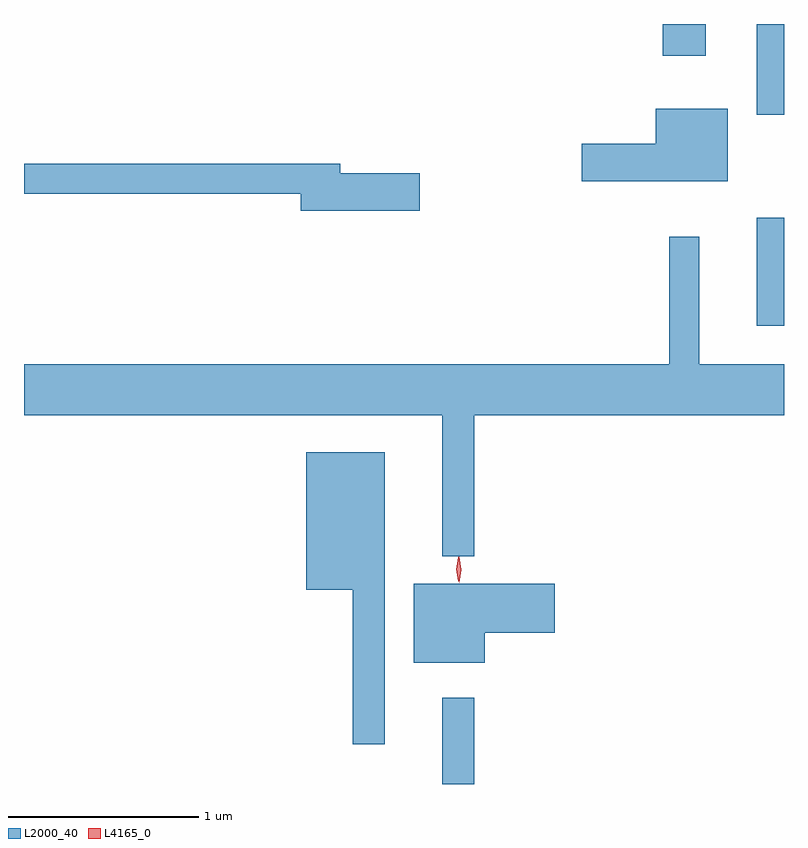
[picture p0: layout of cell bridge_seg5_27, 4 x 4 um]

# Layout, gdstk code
import gdstk
lib = gdstk.Library(unit=1e-6, precision=1e-09)
def R(c, l, rs):  # rectangles x0, y0, x1, y1
    for r in rs: c.add(gdstk.rectangle(r[:2], r[2:], *l))
def P(c, l, *ps):  # polygons
    for p in ps: c.add(gdstk.Polygon(p, *l))
L2000_40 = (2000, 40)
L4165_0 = (4165, 0)

bridge_seg5_27 = lib.new_cell('bridge_seg5_27')
R(bridge_seg5_27, L2000_40, [(1240.911,1468.174,1241.079,1468.628), (1242.566,1470.586,1242.71,1471.154), (1242.566,1471.696,1242.71,1472.174), (1242.071,1472.006,1242.299,1472.174)])
P(bridge_seg5_27, L2000_40, [(1242.414,1471.729),(1242.036,1471.729),(1242.036,1471.544),(1241.646,1471.544),(1241.646,1471.346),(1242.414,1471.346)],
  [(1240.794,1471.389),(1240.374,1471.389),(1240.374,1471.439),(1238.71,1471.439),(1238.71,1471.281),(1240.166,1471.281),(1240.166,1471.191),(1240.794,1471.191)],
  [(1241.079,1470.116),(1242.71,1470.116),(1242.71,1470.384),(1242.264,1470.384),(1242.264,1471.053),(1242.106,1471.053),(1242.106,1470.384),(1238.71,1470.384),(1238.71,1470.116),(1240.911,1470.116),(1240.911,1469.373),(1241.079,1469.373)],
  [(1240.609,1469.919),(1240.196,1469.919),(1240.196,1469.196),(1240.441,1469.196),(1240.441,1468.383),(1240.609,1468.383)],
  [(1241.134,1468.971),(1241.504,1468.971),(1241.504,1469.229),(1240.761,1469.229),(1240.761,1468.811),(1241.134,1468.811)])
P(bridge_seg5_27, L4165_0, [(1241,1469.234),(1241,1469.234),(1240.99,1469.302),(1240.999,1469.37),(1240.999,1469.37),(1241,1469.37),(1241.01,1469.302),(1241,1469.234)],
  [(1240.996,1469.24),(1240.996,1469.241),(1240.986,1469.303),(1240.995,1469.366),(1240.995,1469.367),(1240.996,1469.366),(1241.006,1469.304),(1240.997,1469.241)])

lib.write_gds('bridge_seg5_27.gds')
